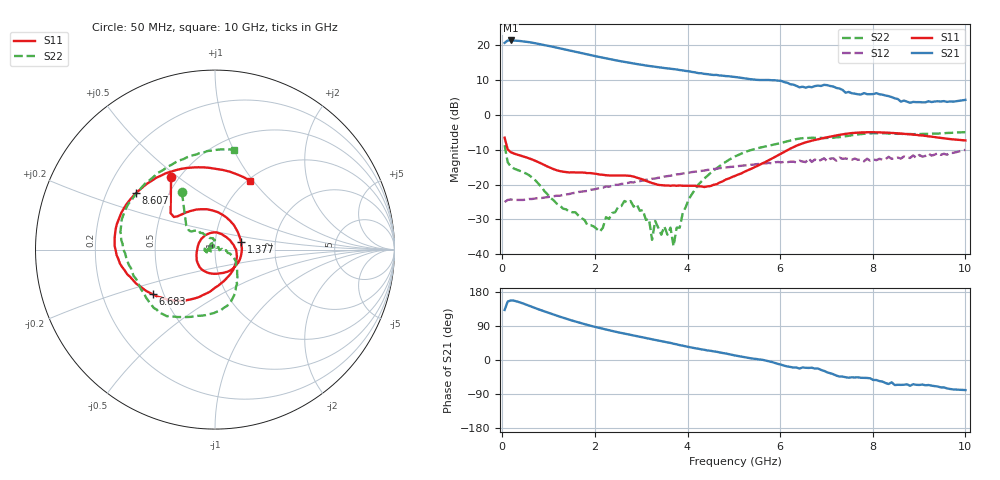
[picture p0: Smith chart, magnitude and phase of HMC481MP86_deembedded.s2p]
!Hittite Microwave Corporation
!12 Elizabeth Drive
!Chelmsford, MA 01824
!Tel: 978-250-3343
!Fax: 978-250-3373
!Device: HMC481MP86, DC-5 GHz, SiGe HBT Gain Block MMIC Amplifier in Micro-P package
!Misc: Vs = 8V, Room
# MHZ S MA R 50
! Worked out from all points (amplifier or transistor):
!   151 points, 50 MHz to 10 GHz, reference 50 ohm
!   highest |S21| = 21.4 dB at 182.7 MHz (marker M1)
!   |S21| within 3 dB of that: start of sweep to 1.494 GHz
!   unconditionally stable (mu >= 1): start of sweep to 6.435 GHz
!   at 1.708 GHz: K = 1.10, MAG = 18.0 dB, |S12| = -22.0 dB
!   at 5.025 GHz: K = 1.05, MAG = 11.5 dB, |S12| = -14.8 dB
!   at 10 GHz: K = 0.87, MSG = 7.2 dB, |S12| = -10.0 dB
!   S11 on the Smith chart (normalised r, x): 50 MHz: 0.45, +0.47; 1.377 GHz: 1.33, +0.11; 6.683 GHz: 0.44, -0.26; 8.607 GHz: 0.33, +0.29; 10 GHz: 1.03, +0.97
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50  0.471 121.3  10.85 132.1  0.056 -43.6  0.368 120.0
116.333  0.32 140.7  11.73 154.2  0.06 -16.5  0.209 140.0
182.667  0.292 141.5  11.77 157.3  0.061 -8.4  0.182 143.5
448  0.254 121.9  11.42 149.2  0.06 3.5  0.15 134.3
779.667  0.21 86.2  10.49 133.9  0.064 11.2  0.103 125.3
1045  0.173 52.9  9.697 122.6  0.067 15.7  0.064 99.8
1376.667  0.151 15.7  8.679 109.0  0.072 20.2  0.044 102.0
1774.667  0.148 -30.6  7.576 94.8  0.08 24.7  0.031 -179.1
2438  0.135 -92.3  6.113 74.8  0.099 27.8  0.04 -174.1
3366.667  0.099 -179.8  4.839 51.5  0.125 25.7  0.024 113.7
3698.333  0.097 140.6  4.553 42.9  0.137 24.3  0.013 51.0
4229  0.094 73.7  3.997 29.9  0.155 20.0  0.099 -18.9
5025  0.133 -26.2  3.511 12.0  0.181 11.8  0.253 -63.0
6152.667  0.311 -116.6  2.908 -17.0  0.209 -2.4  0.418 -116.0
6418  0.376 -131.4  2.495 -22.6  0.22 -7.2  0.458 -125.8
6683.333  0.427 -144.5  2.504 -20.3  0.211 -7.5  0.471 -136.2
6749.667  0.437 -146.8  2.599 -22.7  0.229 -8.5  0.469 -139.4
7280.333  0.517 -167.2  2.4 -43.5  0.244 -16.5  0.479 -167.3
7678.333  0.559 178.1  1.981 -45.6  0.227 -21.8  0.525 174.2
8341.667  0.555 153.4  1.866 -63.4  0.25 -23.1  0.54 148.7
8607  0.541 144.1  1.554 -65.7  0.236 -28.2  0.536 136.7
10000  0.43 62.7  1.647 -79.4  0.315 -30.4  0.566 79.2
